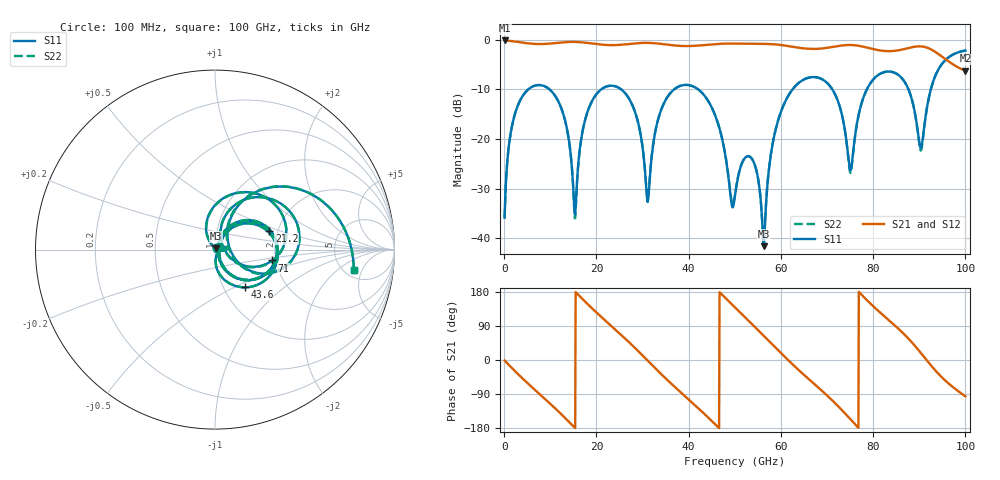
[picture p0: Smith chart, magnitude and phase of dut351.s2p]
! Touchstone file exported from HFSS 2026.1.0
!  File:  C:/ffzhzh/LocalFiles/Ansys_Project_Files/temp_train_TSV_RDL_351_1783708481_45164.aedt
!  Generated:  02:44:10 AM Jul 11, 2026
!  Design:  TSV_RDL
!  Project:  temp_train_TSV_RDL_351_1783708481_45164
! Variables:
!  h_bsmrdl = 3.26um
!  h_ox = 20um
!  h_rdl = 5um
!  h_sub = 94.59um
!  h_tmrdl = 4.67um
!  h_tsv = 94.59um
!  h_via = 3um
!  l_bsmrdl = 347.33um
!  l_sub = 3801.32um
!  l_tmrdl = 549.88um
!  m_sub = 200um
!  pitch = 44.22um
!  r_tsv = 7.79um
!  s_tmrdl = 10um
!  w_bsmrdl = 24.38um
!  w_sub = 500um
!  w_tmrdl = 28.89um
!  x_tsv_center1 = 564.325um
!  x_tsv_center2 = 936.035um
!  x_tsv_center3 = 1514.805um
!  x_tsv_center4 = 1886.515um
!  x_tsv_center5 = 2465.285um
!  x_tsv_center6 = 2836.995um
# GHz S MA R 50.000000
! Terminal data exported
! Port[1] = TM_RDL1_1_T1
! Port[2] = TM_RDL5_1_T1
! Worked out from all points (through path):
!   1000 points, 100 MHz to 100 GHz, reference 50 ohm
!   highest |S21| = -0.11 dB at 100 MHz (marker M1); lowest = -6.2 dB at 100 GHz (marker M2)
!   group delay of S21, straight-line fit = 32.7 ps
!   lowest |S11| = -41.6 dB at 56.3 GHz (marker M3), VSWR 1.02, Z = 50.4 + j0.742 ohm
!   |S11| at or under -10 dB: 9.861 GHz to 21.02 GHz (11.16 GHz wide, 72.3 % of centre); 25.4 GHz to 36.84 GHz (11.44 GHz wide, 36.8 % of centre); 42.08 GHz to 62.52 GHz (20.44 GHz wide, 39.1 % of centre) (the widest 3 of 6)
!   |S22| runs from -40.9 to -2.1 dB; largest |S21 - S12| = 2.6e-12
!   S11 on the Smith chart (normalised r, x): 100 MHz: 1.03, +0.02; 21.2 GHz: 1.81, +0.42; 43.6 GHz: 1.25, -0.57; 71 GHz: 1.91, -0.26; 100 GHz: 6.03, -3.53
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0.1  0.01606 35.6  0.9871 -1.4  0.9871 -1.4  0.01606 35.6
! Gamma 0 0 0 0
! Port Impedance 50 0 50 0
2.6  0.1956 51.4  0.9594 -32.4  0.9594 -32.4  0.1956 51.4
8.4  0.3456 -10.1  0.909 -97.6  0.909 -97.6  0.3456 -10.2
12.9  0.1734 -57.1  0.9461 -149.1  0.9461 -149.1  0.1733 -57.4
15.3  0.01727 -13.5  0.9544 -178.4  0.9544 -178.4  0.0159 -14.7
16.8  0.1063 61.8  0.9455 163.1  0.9455 163.1  0.106 62.7
21.2  0.3207 18.8  0.8947 112.1  0.8947 112.1  0.3205 19.1
27.7  0.2249 -47.8  0.9155 39.8  0.9155 39.8  0.2248 -47.3
31.1  0.02313 -6.2  0.9337 -1.4  0.9337 -1.4  0.02475 -5.3
33.4  0.159 51.1  0.9184 -29.5  0.9184 -29.5  0.1594 50.7
38.4  0.3461 1.3  0.8686 -86.5  0.8686 -86.5  0.3464 1.3
43.6  0.2673 -51.9  0.8893 -144.4  0.8893 -144.4  0.2676 -51.7
50.1  0.02775 4.3  0.9174 138.0  0.9174 138.0  0.02863 2.2
53.5  0.06495 2.1  0.9135 97.4  0.9135 97.4  0.06492 1.7
56.3  0.008291 62.6  0.9117 63.7  0.9117 63.7  0.009026 63.3
59.7  0.1708 105.0  0.8914 22.2  0.8914 22.2  0.1712 104.3
66.7  0.4211 31.7  0.8113 -57.5  0.8113 -57.5  0.4213 31.2
71  0.3247 -10.7  0.8457 -105.0  0.8457 -105.0  0.3246 -11.4
75.1  0.04799 23.6  0.8885 -156.6  0.8885 -156.6  0.04552 23.4
83.4  0.4794 14.6  0.7699 105.1  0.7699 105.1  0.4795 14.3
91.1  0.1364 58.2  0.8505 7.2  0.8505 7.2  0.1338 59.5
100  0.7811 -8.4  0.4887 -95.8  0.4887 -95.8  0.7811 -8.3
